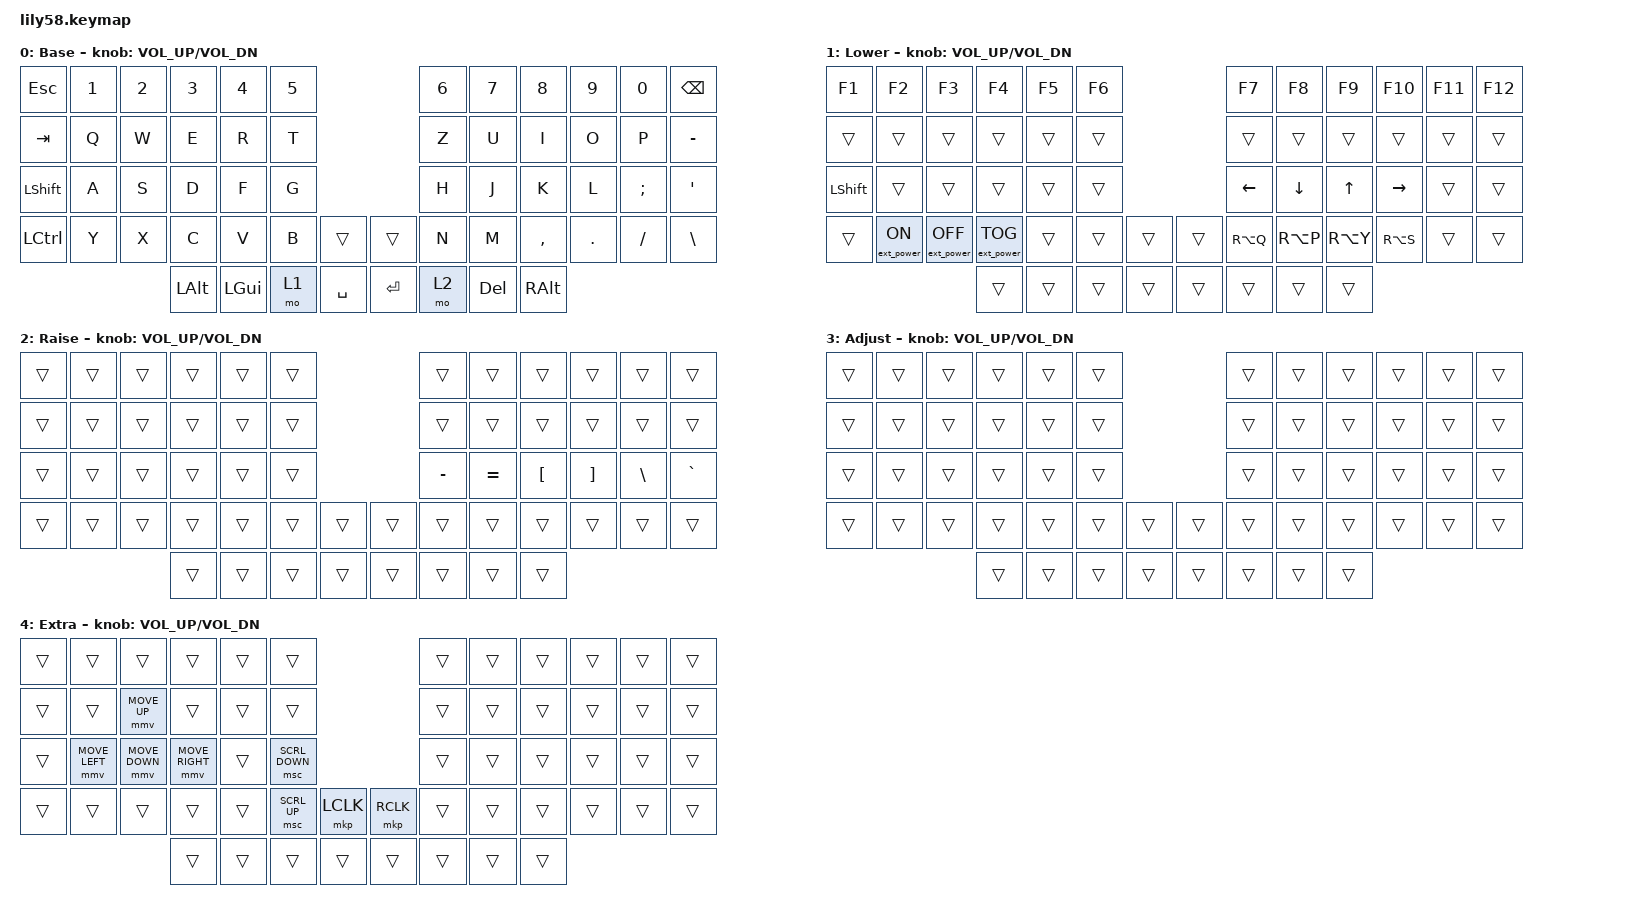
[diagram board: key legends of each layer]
/*
 * Copyright (c) 2020 The ZMK Contributors
 *
 * SPDX-License-Identifier: MIT
 */

#include <behaviors.dtsi>
#include <dt-bindings/zmk/ext_power.h>
#include <dt-bindings/zmk/keys.h>
#include <dt-bindings/zmk/pointing.h>
#include "keys_de.h"

#define default_layer 0
#define lower_layer 1
#define raise_layer 2
#define adjust_layer 3
#define extra_layer 4

/ {
    keymap {
        compatible = "zmk,keymap";

        default_layer {
            display-name = "Base";

            // ------------------------------------------------------------------------------------------------------------
            // |  ESC  |  1  |  2  |  3   |  4   |  5   |                   |  6   |  7    |  8    |  9   |   0   |   `   |
            // |  TAB  |  Q  |  W  |  E   |  R   |  T   |                   |  Y   |  U    |  I    |  O   |   P   |   -   |
            // |  CTRL |  A  |  S  |  D   |  F   |  G   |                   |  H   |  J    |  K    |  L   |   ;   |   '   |
            // | SHIFT |  Z  |  X  |  C   |  V   |  B   |   "["  |  |  "]"  |  N   |  M    |  ,    |  .   |   /   | SHIFT |
            //                     | ALT  | GUI  | LOWER|  SPACE |  | ENTER | RAISE| BSPC  | GUI   |

            bindings = <
&kp ESC         &kp N1  &kp N2  &kp N3    &kp N4    &kp N5                        &kp N6  &kp N7   &kp N8         &kp N9   &kp N0    &kp BACKSPACE
&kp TAB         &kp Q   &kp W   &kp E     &kp R     &kp T                         &kp Z   &kp U    &kp I          &kp O    &kp P     &kp MINUS
&kp LEFT_SHIFT  &kp A   &kp S   &kp D     &kp F     &kp G                         &kp H   &kp J    &kp K          &kp L    &kp SEMI  &kp SINGLE_QUOTE
&kp LCTRL       &kp Y   &kp X   &kp C     &kp V     &kp B   &trans       &trans   &kp N   &kp M    &kp COMMA      &kp DOT  &kp FSLH  &kp BACKSLASH
                                &kp LALT  &kp LGUI  &mo 1   &kp SPACE    &kp RET  &mo 2   &kp DEL  &kp RIGHT_ALT
            >;

            sensor-bindings = <&inc_dec_kp C_VOL_UP C_VOL_DN>;
        };

        lower_layer {
            display-name = "Lower";

            // ------------------------------------------------------------------------------------------------------------
            // | BTCLR | BT1 | BT2 |  BT3 |  BT4 |  BT5 |                   |      |       |       |      |       |       |
            // |  F1   |  F2 |  F3 |  F4  |  F5  |  F6  |                   |  F7  |  F8   |  F9   |  F10 |  F11  |  F12  |
            // |   `   |  !  |  @  |  #   |  $   |  %   |                   |  ^   |  &    |  *    |  (   |   )   |   ~   |
            // |       |     |     |      |      |      |        |  |       |      |  _    |  +    |  {   |   }   |  "|"  |
            //                     |      |      |      |        |  |       |      |       |       |

            bindings = <
&kp F1          &kp F2            &kp F3             &kp F4             &kp F5  &kp F6                    &kp F7          &kp F8          &kp F9     &kp F10    &kp F11  &kp F12
&trans          &trans            &trans             &trans             &trans  &trans                    &trans          &trans          &trans     &trans     &trans   &trans
&kp LEFT_SHIFT  &trans            &trans             &trans             &trans  &trans                    &kp LEFT_ARROW  &kp DOWN_ARROW  &kp UP     &kp RIGHT  &trans   &trans
&trans          &ext_power EP_ON  &ext_power EP_OFF  &ext_power EP_TOG  &trans  &trans  &trans    &trans  &kp RA(Q)       &kp RA(P)       &kp RA(Y)  &kp RA(S)  &trans   &trans
                                                     &trans             &trans  &trans  &trans    &trans  &trans          &trans          &trans
            >;

            sensor-bindings = <&inc_dec_kp C_VOL_UP C_VOL_DN>;
        };

        raise_layer {
            display-name = "Raise";

            // ------------------------------------------------------------------------------------------------------------
            // |       |     |     |      |      |      |                   |      |       |       |      |       |       |
            // |   `   |  1  |  2  |  3   |  4   |  5   |                   |  6   |   7   |   8   |  9   |   0   |       |
            // |   F1  |  F2 |  F3 |  F4  |  F5  |  F6  |                   |      |   <-  |   v   |  ^   |  ->   |       |
            // |   F7  |  F8 |  F9 |  F10 |  F11 |  F12 |        |  |       |  +   |   -   |   =   |  [   |   ]   |   \   |
            //                     |      |      |      |        |  |       |      |       |       |

            bindings = <
&trans  &trans  &trans  &trans  &trans  &trans                    &trans     &trans     &trans            &trans             &trans         &trans
&trans  &trans  &trans  &trans  &trans  &trans                    &trans     &trans     &trans            &trans             &trans         &trans
&trans  &trans  &trans  &trans  &trans  &trans                    &kp MINUS  &kp EQUAL  &kp LEFT_BRACKET  &kp RIGHT_BRACKET  &kp BACKSLASH  &kp GRAVE
&trans  &trans  &trans  &trans  &trans  &trans  &trans    &trans  &trans     &trans     &trans            &trans             &trans         &trans
                        &trans  &trans  &trans  &trans    &trans  &trans     &trans     &trans
            >;

            sensor-bindings = <&inc_dec_kp C_VOL_UP C_VOL_DN>;
        };

        adjust_layer {
            display-name = "Adjust";

            // ------------------------------------------------------------------------------------------------------------
            // |       |     |     |      |      |      |                   |      |       |       |      |       |       |
            // |   `   |  1  |  2  |  3   |  4   |  5   |                   |  6   |   7   |   8   |  9   |   0   |       |
            // |   F1  |  F2 |  F3 |  F4  |  F5  |  F6  |                   |      |   <-  |   v   |  ^   |  ->   |       |
            // |   F7  |  F8 |  F9 |  F10 |  F11 |  F12 |        |  |       |  +   |   -   |   =   |  [   |   ]   |   \   |
            //                     |      |      |      |        |  |       |      |       |       |

            bindings = <
&trans  &trans  &trans  &trans  &trans  &trans                    &trans  &trans  &trans  &trans  &trans  &trans
&trans  &trans  &trans  &trans  &trans  &trans                    &trans  &trans  &trans  &trans  &trans  &trans
&trans  &trans  &trans  &trans  &trans  &trans                    &trans  &trans  &trans  &trans  &trans  &trans
&trans  &trans  &trans  &trans  &trans  &trans  &trans    &trans  &trans  &trans  &trans  &trans  &trans  &trans
                        &trans  &trans  &trans  &trans    &trans  &trans  &trans  &trans
            >;

            sensor-bindings = <&inc_dec_kp C_VOL_UP C_VOL_DN>;
        };

        extra_layer {
            display-name = "Extra";

            // ------------------------------------------------------------------------------------------------------------
            // |       |     |     |      |      |      |                   |      |       |       |      |       |       |
            // |   `   |  1  |  2  |  3   |  4   |  5   |                   |  6   |   7   |   8   |  9   |   0   |       |
            // |   F1  |  F2 |  F3 |  F4  |  F5  |  F6  |                   |      |   <-  |   v   |  ^   |  ->   |       |
            // |   F7  |  F8 |  F9 |  F10 |  F11 |  F12 |        |  |       |  +   |   -   |   =   |  [   |   ]   |   \   |
            //                     |      |      |      |        |  |       |      |       |       |

            bindings = <
&trans  &trans          &trans          &trans           &trans  &trans                                  &trans  &trans  &trans  &trans  &trans  &trans
&trans  &trans          &mmv MOVE_UP    &trans           &trans  &trans                                  &trans  &trans  &trans  &trans  &trans  &trans
&trans  &mmv MOVE_LEFT  &mmv MOVE_DOWN  &mmv MOVE_RIGHT  &trans  &msc SCRL_DOWN                          &trans  &trans  &trans  &trans  &trans  &trans
&trans  &trans          &trans          &trans           &trans  &msc SCRL_UP    &mkp LCLK    &mkp RCLK  &trans  &trans  &trans  &trans  &trans  &trans
                                        &trans           &trans  &trans          &trans       &trans     &trans  &trans  &trans
            >;

            sensor-bindings = <&inc_dec_kp C_VOL_UP C_VOL_DN>;
        };
    };
};
